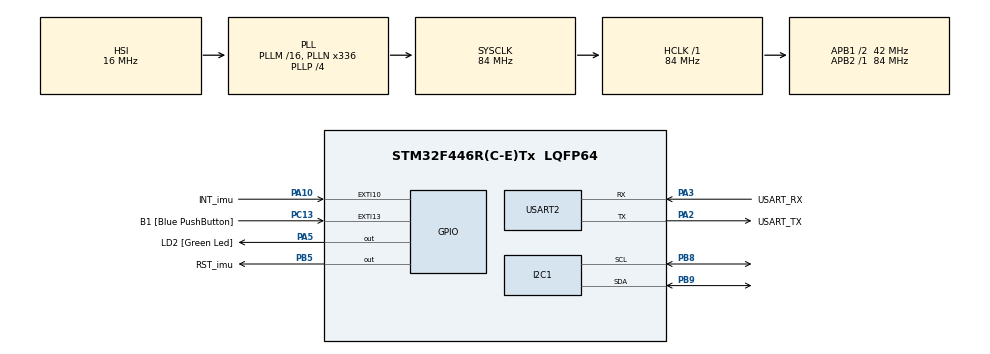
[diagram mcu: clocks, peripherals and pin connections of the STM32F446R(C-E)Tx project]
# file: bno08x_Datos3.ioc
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I2C1.I2C_Mode=I2C_Fast
Mcu.Family=STM32F4
Mcu.Name=STM32F446R(C-E)Tx
Mcu.Package=LQFP64
NVIC.EXTI15_10_IRQn=true\:0\:0\:false\:false\:true\:true\:true\:true
NVIC.PriorityGroup=NVIC_PRIORITYGROUP_0
PA10.GPIO_Label=INT_imu
PA10.GPIO_ModeDefaultEXTI=GPIO_MODE_IT_FALLING
PA10.GPIO_PuPd=GPIO_PULLUP
PA10.Signal=GPXTI10
PA13.GPIO_Label=TMS
PA13.Mode=Serial_Wire
PA13.Signal=SYS_JTMS-SWDIO
PA14.GPIO_Label=TCK
PA14.Mode=Serial_Wire
PA14.Signal=SYS_JTCK-SWCLK
PA2.GPIO_Label=USART_TX
PA2.Mode=Asynchronous
PA2.Signal=USART2_TX
PA3.GPIO_Label=USART_RX
PA3.Mode=Asynchronous
PA3.Signal=USART2_RX
PA5.GPIO_Label=LD2 [Green Led]
PA5.Signal=GPIO_Output
PB3.GPIO_Label=SWO
PB3.Signal=SYS_JTDO-SWO
PB5.GPIO_Label=RST_imu
PB5.Signal=GPIO_Output
PB8.Mode=I2C
PB8.Signal=I2C1_SCL
PB9.Mode=I2C
PB9.Signal=I2C1_SDA
PC13.GPIO_Label=B1 [Blue PushButton]
PC13.GPIO_ModeDefaultEXTI=GPIO_MODE_IT_FALLING
PC13.Signal=GPXTI13
PC14-OSC32_IN.Mode=LSE-External-Oscillator
PC14-OSC32_IN.Signal=RCC_OSC32_IN
PC15-OSC32_OUT.Mode=LSE-External-Oscillator
PC15-OSC32_OUT.Signal=RCC_OSC32_OUT
PH0-OSC_IN.Mode=HSE-External-Oscillator
PH0-OSC_IN.Signal=RCC_OSC_IN
PH1-OSC_OUT.Mode=HSE-External-Oscillator
PH1-OSC_OUT.Signal=RCC_OSC_OUT
ProjectManager.HeapSize=0x200
ProjectManager.StackSize=0x400
ProjectManager.TargetToolchain=STM32CubeIDE
RCC.48MHZClocksFreq_Value=84000000
RCC.AHBFreq_Value=84000000
RCC.APB1CLKDivider=RCC_HCLK_DIV2
RCC.APB1Freq_Value=42000000
RCC.APB1TimFreq_Value=84000000
RCC.APB2Freq_Value=84000000
RCC.APB2TimFreq_Value=84000000
RCC.CortexFreq_Value=84000000
RCC.FLatency-AdvancedSettings=FLASH_LATENCY_2
RCC.HCLKFreq_Value=84000000
RCC.HSE_VALUE=8000000
RCC.HSI_VALUE=16000000
RCC.PLLN=336
RCC.PLLP=RCC_PLLP_DIV4
RCC.SYSCLKFreq_VALUE=84000000
RCC.SYSCLKSource=RCC_SYSCLKSOURCE_PLLCLK
RCC.USBFreq_Value=168000000
RCC.VCOOutputFreq_Value=336000000
USART2.VirtualMode=VM_ASYNC
board=NUCLEO-F446RE

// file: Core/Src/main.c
/* USER CODE BEGIN Header */
/**
  ******************************************************************************
  * @file           : main.c
  * @brief          : Main program body
  ******************************************************************************
  * @attention
  *
  * Copyright (c) 2026 STMicroelectronics.
  * All rights reserved.
  *
  * This software is licensed under terms that can be found in the LICENSE file
  * in the root directory of this software component.
  * If no LICENSE file comes with this software, it is provided AS-IS.
  *
  ******************************************************************************
  */
/* USER CODE END Header */
#include "main.h"
#include "i2c.h"
#include "usart.h"
#include "gpio.h"

/* USER CODE BEGIN Includes */
#include "sh2.h"
#include "sh2_SensorValue.h"
#include "sh2_err.h"
#include <stdio.h>
/* USER CODE END Includes */

/* USER CODE BEGIN PV */
volatile float acc_x, acc_y, acc_z;  // Guardará los datos del acelerómetro
/* USER CODE END PV */

void SystemClock_Config(void);
/* USER CODE BEGIN PFP */
void sensorCallback(void *cookie, sh2_SensorEvent_t *event);
/* USER CODE END PFP */

int main(void)
{

  /* MCU Configuration--------------------------------------------------------*/

  /* Reset of all peripherals, Initializes the Flash interface and the Systick. */
  HAL_Init();

  /* Configure the system clock */
  SystemClock_Config();

  /* Initialize all configured peripherals */
  MX_GPIO_Init();
  MX_USART2_UART_Init();
  MX_I2C1_Init();
  /* USER CODE BEGIN 2 */
  sh2_hal_init();
  sh2_setSensorCallback(sensorCallback, NULL);
  sh2_SensorConfig_t cfg;
  cfg.changeSensitivityEnabled = false;
  cfg.changeSensitivityRelative = false;
  cfg.wakeupEnabled = false;
  cfg.alwaysOnEnabled = false;
  cfg.changeSensitivity = 0;
  cfg.reportInterval_us = 5000; // 200 Hz

  int status = sh2_setSensorConfig(SH2_ACCELEROMETER, &cfg);
  if (status != SH2_OK)
  {
      Error_Handler();
  }

  /* USER CODE END 2 */

  /* Infinite loop */
  while (1)
  {
	  sh2_service();
  }
}

void SystemClock_Config(void)
{
  RCC_OscInitTypeDef RCC_OscInitStruct = {0};
  RCC_ClkInitTypeDef RCC_ClkInitStruct = {0};

  /** Configure the main internal regulator output voltage
  */
  __HAL_RCC_PWR_CLK_ENABLE();
  __HAL_PWR_VOLTAGESCALING_CONFIG(PWR_REGULATOR_VOLTAGE_SCALE3);

  /** Initializes the RCC Oscillators according to the specified parameters
  * in the RCC_OscInitTypeDef structure.
  */
  RCC_OscInitStruct.OscillatorType = RCC_OSCILLATORTYPE_HSI;
  RCC_OscInitStruct.HSIState = RCC_HSI_ON;
  RCC_OscInitStruct.HSICalibrationValue = RCC_HSICALIBRATION_DEFAULT;
  RCC_OscInitStruct.PLL.PLLState = RCC_PLL_ON;
  RCC_OscInitStruct.PLL.PLLSource = RCC_PLLSOURCE_HSI;
  RCC_OscInitStruct.PLL.PLLM = 16;
  RCC_OscInitStruct.PLL.PLLN = 336;
  RCC_OscInitStruct.PLL.PLLP = RCC_PLLP_DIV4;
  RCC_OscInitStruct.PLL.PLLQ = 2;
  RCC_OscInitStruct.PLL.PLLR = 2;
  if (HAL_RCC_OscConfig(&RCC_OscInitStruct) != HAL_OK)
  {
    Error_Handler();
  }

  /** Initializes the CPU, AHB and APB buses clocks
  */
  RCC_ClkInitStruct.ClockType = RCC_CLOCKTYPE_HCLK|RCC_CLOCKTYPE_SYSCLK
                              |RCC_CLOCKTYPE_PCLK1|RCC_CLOCKTYPE_PCLK2;
  RCC_ClkInitStruct.SYSCLKSource = RCC_SYSCLKSOURCE_PLLCLK;
  RCC_ClkInitStruct.AHBCLKDivider = RCC_SYSCLK_DIV1;
  RCC_ClkInitStruct.APB1CLKDivider = RCC_HCLK_DIV2;
  RCC_ClkInitStruct.APB2CLKDivider = RCC_HCLK_DIV1;

  if (HAL_RCC_ClockConfig(&RCC_ClkInitStruct, FLASH_LATENCY_2) != HAL_OK)
  {
    Error_Handler();
  }
}

/* USER CODE BEGIN 4 */

void sensorCallback(void *cookie, sh2_SensorEvent_t *event)
{
    sh2_SensorValue_t value;

    if (sh2_decodeSensorEvent(&value, event) == SH2_OK)
    {
        if (value.sensorId == SH2_ACCELEROMETER)
        {
        	acc_x = value.un.accelerometer.x;
        	acc_y = value.un.accelerometer.y;
        	acc_z = value.un.accelerometer.z;

        	// Enviar por UART
        	char buffer[64];
        	int len = snprintf(buffer, sizeof(buffer),
        	                   "ACC x=%.2f y=%.2f z=%.2f\r\n",
        	                   acc_x, acc_y, acc_z);
        	HAL_UART_Transmit(&huart2, (uint8_t*)buffer, len, HAL_MAX_DELAY);
        }
    }
}

void HAL_GPIO_EXTI_Callback(uint16_t GPIO_Pin)
{
	if(GPIO_Pin == B1_Pin)
	{
		HAL_GPIO_TogglePin(GPIOA, LD2_Pin);
	}
	if(GPIO_Pin == INT_imu_Pin)
	{
		HAL_GPIO_TogglePin(GPIOA, LD2_Pin);
	}

	}
/* USER CODE END 4 */

void Error_Handler(void)
{
  __disable_irq();
  while (1)
  {
  }
}
